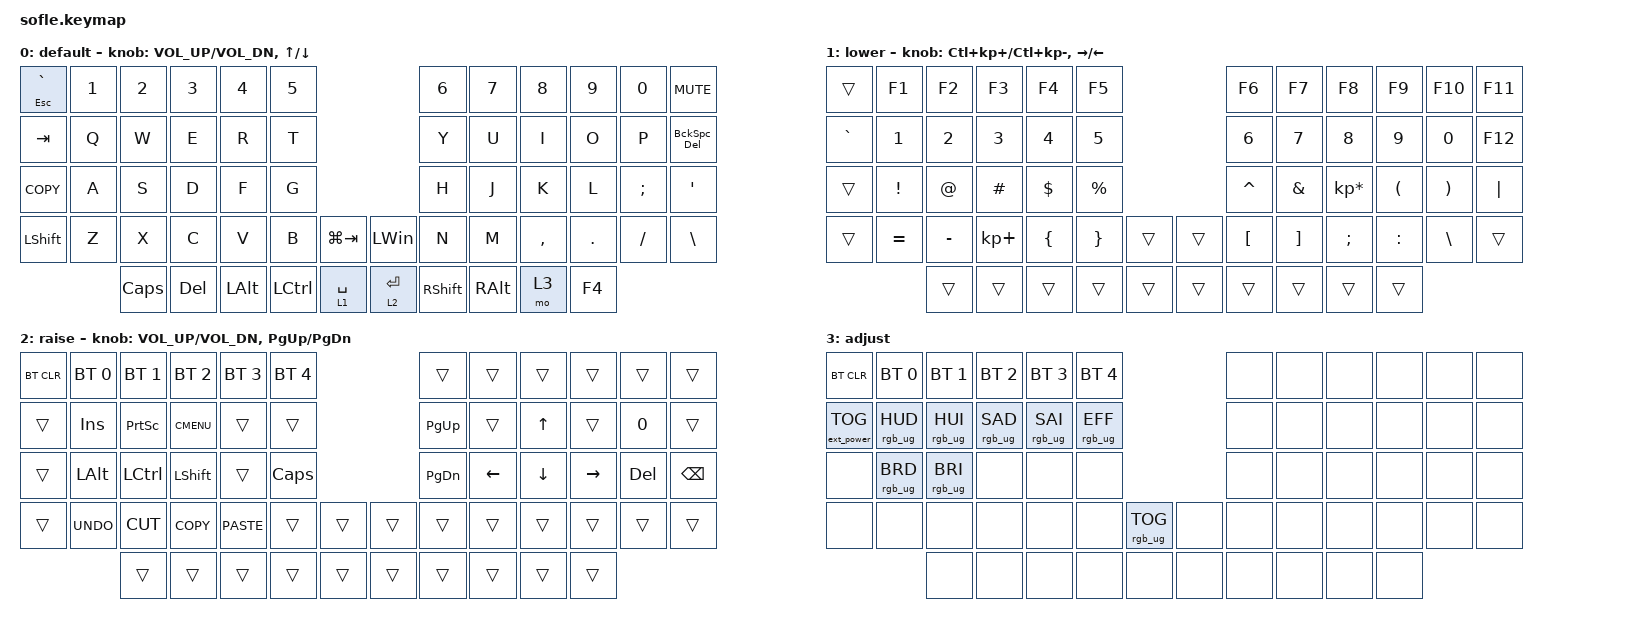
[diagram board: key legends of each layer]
/*
 * Copyright (c) 2020 The ZMK Contributors
 *
 * SPDX-License-Identifier: MIT
 */

#include <behaviors.dtsi>
#include <dt-bindings/zmk/bt.h>
#include <dt-bindings/zmk/ext_power.h>
#include <dt-bindings/zmk/keys.h>
#include <dt-bindings/zmk/rgb.h>

#define BASE 0
#define LOWER 1
#define RAISE 2
#define ADJUST 3

/ {
    // Activate ADJUST layer by pressing raise and lower

    conditional_layers {
        compatible = "zmk,conditional-layers";

        adjust_layer {
            if-layers = <1 2>;
            then-layer = <3>;
        };
    };

    behaviors {
        BckSpc_Del: BckSpc_Del {
            compatible = "zmk,behavior-mod-morph";
            label = "BCKSPC_DEL";
            bindings = <&kp BACKSPACE>, <&kp DELETE>;

            #binding-cells = <0>;
            mods = <(MOD_LSFT)>;
        };
    };

    keymap {
        compatible = "zmk,keymap";

        default_layer {
            display-name = "default";

            // ------------------------------------------------------------------------------------------------------------
            // |   `   |  1  |  2  |  3   |  4   |  5   |                   |  6   |  7    |  8    |  9   |   0   |       |
            // |  ESC  |  Q  |  W  |  E   |  R   |  T   |                   |  Y   |  U    |  I    |  O   |   P   | BKSPC |
            // |  TAB  |  A  |  S  |  D   |  F   |  G   |                   |  H   |  J    |  K    |  L   |   ;   |   '   |
            // | SHIFT |  Z  |  X  |  C   |  V   |  B   |  MUTE  |  |       |  N   |  M    |  ,    |  .   |   /   | SHIFT |
            //               | GUI | ALT  | CTRL | LOWER|  ENTER |  | SPACE | RAISE| CTRL  | ALT   | GUI  |

            bindings = <
&mt ESCAPE GRAVE  &kp N1  &kp N2        &kp N3      &kp N4        &kp N5                                         &kp N6           &kp N7         &kp N8     &kp N9   &kp N0    &kp K_MUTE
&kp TAB           &kp Q   &kp W         &kp E       &kp R         &kp T                                          &kp Y            &kp U          &kp I      &kp O    &kp P     &BckSpc_Del
&kp K_COPY        &kp A   &kp S         &kp D       &kp F         &kp G                                          &kp H            &kp J          &kp K      &kp L    &kp SEMI  &kp SQT
&kp LEFT_SHIFT    &kp Z   &kp X         &kp C       &kp V         &kp B             &kp LG(TAB)    &kp LEFT_WIN  &kp N            &kp M          &kp COMMA  &kp DOT  &kp FSLH  &kp BACKSLASH
                          &kp CAPSLOCK  &kp DELETE  &kp LEFT_ALT  &kp LEFT_CONTROL  &lt 1 SPACE    &lt 2 ENTER   &kp RIGHT_SHIFT  &kp RIGHT_ALT  &mo 3      &kp F4
            >;

            sensor-bindings =
                <&inc_dec_kp C_VOL_UP C_VOL_DN>,
                <&inc_dec_kp UP DOWN>;
        };

        lower_layer {
            display-name = "lower";

            // TODO: Some binds are waiting for shifted keycode support.
            // ------------------------------------------------------------------------------------------------------------
            // |       |  F1 |  F2 |  F3  |  F4  |  F5  |                   |  F6  |  F7   |  F8   |  F9  |  F10  |  F11  |
            // |   `   |  1  |  2  |  3   |  4   |  5   |                   |  6   |  7    |  8    |  9   |   0   |  F12  |
            // |       |  !  |  @  |  #   |  $   |  %   |                   |  ^   |  &    |  *    |  (   |   )   |   |   |
            // |       |  =  |  -  |  +   |  {   |  }   |        |  |       |  [   |  ]    |  ;    |  :   |   \   |       |
            //               |     |      |      |      |        |  |       |      |       |       |      |

            bindings = <
&trans     &kp F1     &kp F2     &kp F3       &kp F4    &kp F5                       &kp F6     &kp F7    &kp F8           &kp F9     &kp F10   &kp F11
&kp GRAVE  &kp N1     &kp N2     &kp N3       &kp N4    &kp N5                       &kp N6     &kp N7    &kp N8           &kp N9     &kp N0    &kp F12
&trans     &kp EXCL   &kp AT     &kp HASH     &kp DLLR  &kp PRCNT                    &kp CARET  &kp AMPS  &kp KP_MULTIPLY  &kp LPAR   &kp RPAR  &kp PIPE
&trans     &kp EQUAL  &kp MINUS  &kp KP_PLUS  &kp LBRC  &kp RBRC   &trans    &trans  &kp LBKT   &kp RBKT  &kp SEMI         &kp COLON  &kp BSLH  &trans
                      &trans     &trans       &trans    &trans     &trans    &trans  &trans     &trans    &trans           &trans
            >;

            sensor-bindings =
                <&inc_dec_kp LC(KP_PLUS) LC(KP_MINUS)>,
                <&inc_dec_kp RIGHT LEFT>;
        };

        raise_layer {
            display-name = "raise";

            // ------------------------------------------------------------------------------------------------------------
            // | BTCLR | BT1  | BT2  |  BT3  |  BT4  |  BT5 |                |      |      |       |      |       |       |
            // |       | INS  | PSCR | GUI   |       |      |                | PGUP |      |   ^   |      |       |       |
            // |       | ALT  | CTRL | SHIFT |       | CAPS |                | PGDN |   <- |   v   |  ->  |  DEL  | BKSPC |
            // |       | UNDO | CUT  | COPY  | PASTE |      |      |  |      |      |      |       |      |       |       |
            //                |      |       |       |      |      |  |      |      |      |       |      |

            bindings = <
&bt BT_CLR  &bt BT_SEL 0  &bt BT_SEL 1  &bt BT_SEL 2  &bt BT_SEL 3  &bt BT_SEL 4                    &trans     &trans    &trans    &trans     &trans   &trans
&trans      &kp INS       &kp PSCRN     &kp K_CMENU   &trans        &trans                          &kp PG_UP  &trans    &kp UP    &trans     &kp N0   &trans
&trans      &kp LALT      &kp LCTRL     &kp LSHFT     &trans        &kp CLCK                        &kp PG_DN  &kp LEFT  &kp DOWN  &kp RIGHT  &kp DEL  &kp BSPC
&trans      &kp K_UNDO    &kp K_CUT     &kp K_COPY    &kp K_PASTE   &trans        &trans    &trans  &trans     &trans    &trans    &trans     &trans   &trans
                          &trans        &trans        &trans        &trans        &trans    &trans  &trans     &trans    &trans    &trans
            >;

            sensor-bindings = <&inc_dec_kp C_VOL_UP C_VOL_DN &inc_dec_kp PG_UP PG_DN>;
        };

        adjust_layer {
            // ----------------------------------------------------------------------------------------------------------------------------
            // | BTCLR  |  BT1    |  BT2    |   BT3   |   BT4   |   BT5   |                  |      |      |       |      |       |       |
            // | EXTPWR | RGB_HUD | RGB_HUI | RGB_SAD | RGB_SAI | RGB_EFF |                  |      |      |       |      |       |       |
            // |        | RGB_BRD | RGB_BRI |         |         |         |                  |      |      |       |      |       |       |
            // |        |         |         |         |         |         | RGB_TOG | |      |      |      |       |      |       |       |
            //                    |         |         |         |         |         | |      |      |      |       |      |

            display-name = "adjust";
            bindings = <
&bt BT_CLR         &bt BT_SEL 0     &bt BT_SEL 1     &bt BT_SEL 2     &bt BT_SEL 3     &bt BT_SEL 4                               &none  &none  &none  &none  &none  &none
&ext_power EP_TOG  &rgb_ug RGB_HUD  &rgb_ug RGB_HUI  &rgb_ug RGB_SAD  &rgb_ug RGB_SAI  &rgb_ug RGB_EFF                            &none  &none  &none  &none  &none  &none
&none              &rgb_ug RGB_BRD  &rgb_ug RGB_BRI  &none            &none            &none                                      &none  &none  &none  &none  &none  &none
&none              &none            &none            &none            &none            &none            &rgb_ug RGB_TOG    &none  &none  &none  &none  &none  &none  &none
                                    &none            &none            &none            &none            &none              &none  &none  &none  &none  &none
            >;
        };
    };
};
